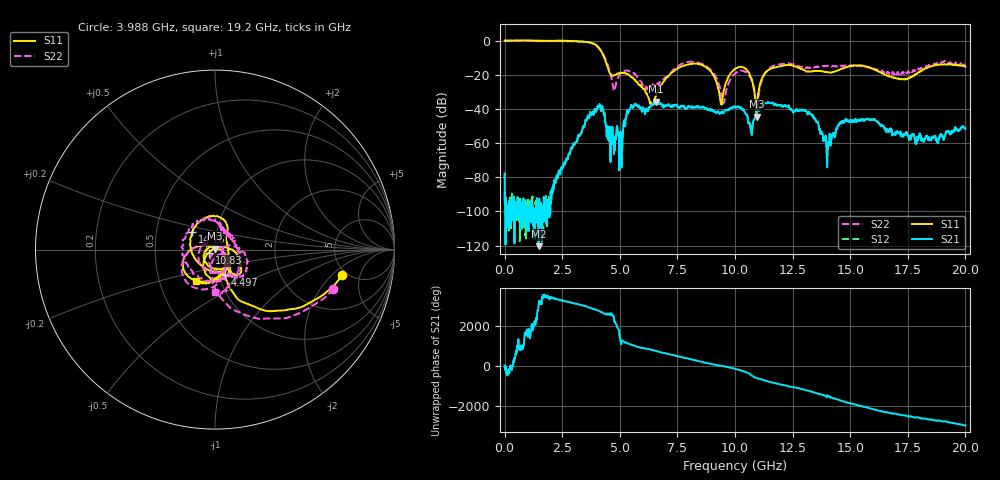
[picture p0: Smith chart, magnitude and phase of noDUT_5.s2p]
#  HZ  S  RI  R  50.00
! Rohde & Schwarz Vector Network Analyzer
! Rohde-Schwarz,ZNB20-2Port,1311601062102128,3.60
! Created: UTC 4/29/2024, 2:42:05 PM
! freq[Hz]  re:S11  im:S11  re:S21  im:S21  re:S12  im:S12  re:S22  im:S22
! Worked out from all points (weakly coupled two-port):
!   2007 points, 100 kHz to 20 GHz, reference 50 ohm
!   highest |S21| = -35.76 dB at 6.58 GHz (marker M1); lowest = -120.4 dB at 1.476 GHz (marker M2)
!   lowest |S11| = -44.4 dB at 10.94 GHz (marker M3), VSWR 1.01, Z = 49.8 + j0.579 ohm
!   |S11| at or under -10 dB: 4.332 GHz to end of sweep
!   |S22| runs from -44.1 to 0.1 dB; largest |S21 - S12| = 0.00086
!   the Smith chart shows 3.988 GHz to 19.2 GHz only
!   S11 on the Smith chart (normalised r, x): 3.988 GHz: 4.49, -2.67; 4.497 GHz: 1.07, -0.31; 10.83 GHz: 0.93, -0.03; 14.76 GHz: 0.76, +0.15; 19.2 GHz: 0.76, -0.28
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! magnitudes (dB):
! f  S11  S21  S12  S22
! 100 kHz  0.0  -77.8  -89.4  0.1
! 1.476 GHz  -0.1  -120.4  -102.7  -0.1
! 2.323 GHz  -0.1  -78.7  -80.3  -0.3
! 3.34 GHz  -0.6  -54.2  -53.9  -0.6
! 3.988 GHz  -2.9  -39.9  -40.3  -3.2
! 4.497 GHz  -16.3  -54.8  -54.7  -15.0
! 4.756 GHz  -20.1  -61.0  -61.3  -29.1
! 5.573 GHz  -21.9  -39.4  -39.4  -18.6
! 6.58 GHz  -32.1  -35.8  -35.8  -25.5
! 6.67 GHz  -28.7  -36.7  -36.7  -24.9
! 8.365 GHz  -13.6  -38.5  -38.5  -12.8
! 9.412 GHz  -37.3  -42.0  -42.0  -31.8
! 10 GHz  -16.7  -38.8  -38.8  -19.3
! 10.83 GHz  -28.4  -46.3  -46.4  -28.9
! 10.94 GHz  -44.4  -42.2  -42.1  -43.4
! 11.6 GHz  -16.2  -36.5  -36.5  -15.4
! 13.34 GHz  -18.1  -43.9  -43.9  -15.6
! 13.99 GHz  -18.4  -69.5  -67.7  -15.0
! 14.76 GHz  -15.9  -47.0  -47.2  -15.0
! 16.67 GHz  -20.9  -53.6  -53.6  -19.5
! 19.2 GHz  -13.8  -53.2  -53.4  -12.6
! 20 GHz  -15.2  -51.8  -51.7  -14.2
